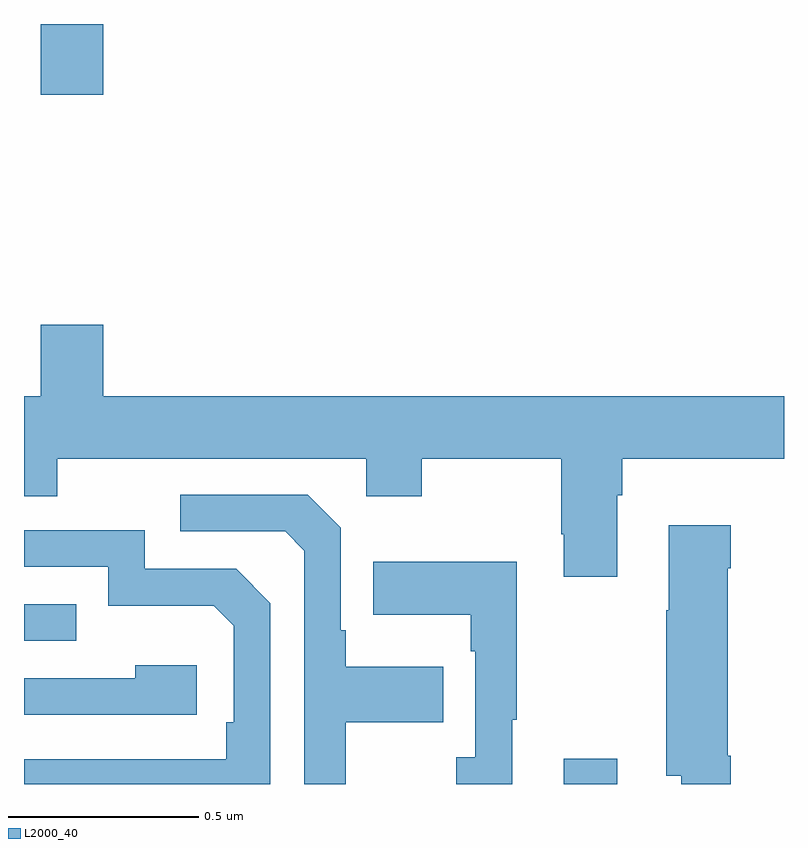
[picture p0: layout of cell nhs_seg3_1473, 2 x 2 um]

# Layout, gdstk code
import gdstk
lib = gdstk.Library(unit=1e-6, precision=1e-09)
def R(c, l, rs):  # rectangles x0, y0, x1, y1
    for r in rs: c.add(gdstk.rectangle(r[:2], r[2:], *l))
def P(c, l, *ps):  # polygons
    for p in ps: c.add(gdstk.Polygon(p, *l))
L2000_40 = (2000, 40)

nhs_seg3_1473 = lib.new_cell('nhs_seg3_1473')
R(nhs_seg3_1473, L2000_40, [(130.421,693.4,130.561,693.466), (129,693.777,129.137,693.873), (129.044,695.214,129.208,695.4)])
P(nhs_seg3_1473, L2000_40, [(130.561,694.16),(130.574,694.16),(130.574,694.256),(131,694.256),(131,694.42),(129.208,694.42),(129.208,694.609),(129.044,694.609),(129.044,694.42),(129,694.42),(129,694.157),(129.087,694.157),(129.087,694.256),(129.9,694.256),(129.9,694.157),(130.047,694.157),(130.047,694.256),(130.414,694.256),(130.414,694.057),(130.421,694.057),(130.421,693.945),(130.561,693.945)],
  [(129.847,693.562),(130.103,693.562),(130.103,693.709),(129.847,693.709),(129.847,693.805),(129.834,693.805),(129.834,694.074),(129.747,694.161),(129.411,694.161),(129.411,694.065),(129.687,694.065),(129.738,694.014),(129.738,693.4),(129.847,693.4)],
  [(130.86,693.475),(130.852,693.475),(130.852,693.968),(130.86,693.968),(130.86,694.081),(130.697,694.081),(130.697,693.857),(130.69,693.857),(130.69,693.422),(130.73,693.422),(130.73,693.4),(130.86,693.4)],
  [(129.648,693.876),(129.558,693.966),(129.318,693.966),(129.318,694.068),(129,694.068),(129,693.972),(129.222,693.972),(129.222,693.869),(129.499,693.869),(129.552,693.816),(129.552,693.562),(129.532,693.562),(129.532,693.465),(129,693.465),(129,693.4),(129.648,693.4)],
  [(130.285,693.569),(130.297,693.569),(130.297,693.985),(129.919,693.985),(129.919,693.845),(130.176,693.845),(130.176,693.749),(130.188,693.749),(130.188,693.47),(130.137,693.47),(130.137,693.4),(130.285,693.4)],
  [(129.454,693.712),(129.293,693.712),(129.293,693.678),(129,693.678),(129,693.582),(129.454,693.582)])

lib.write_gds('nhs_seg3_1473.gds')
